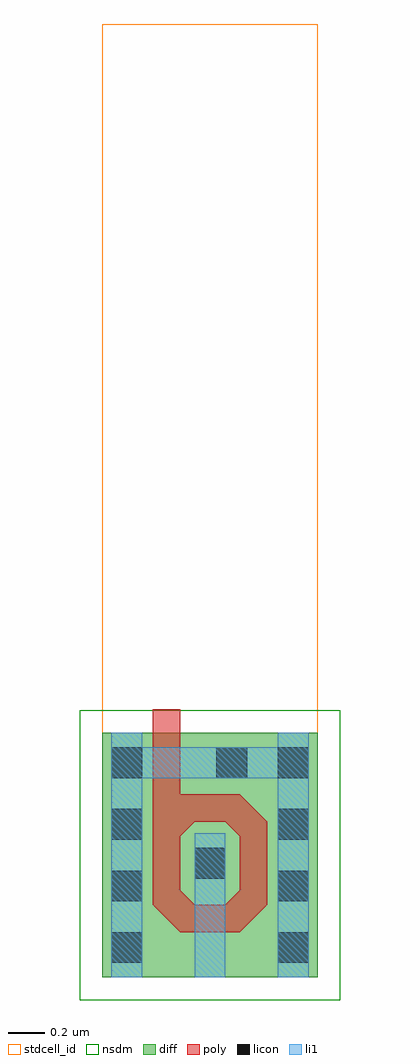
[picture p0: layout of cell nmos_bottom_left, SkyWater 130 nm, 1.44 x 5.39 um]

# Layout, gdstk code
import gdstk
lib = gdstk.Library(unit=1e-6, precision=1e-09)
def R(c, l, rs):  # rectangles x0, y0, x1, y1
    for r in rs: c.add(gdstk.rectangle(r[:2], r[2:], *l))
def A(c, l, x, y, w, h, nx, ny, dx, dy):  # array of equal rectangles
    R(c, l, [(x+i*dx, y+j*dy, x+i*dx+w, y+j*dy+h) for i in range(nx) for j in range(ny)])
def P(c, l, *ps):  # polygons
    for p in ps: c.add(gdstk.Polygon(p, *l))
diff = (65, 20)
poly = (66, 20)
licon = (66, 44)
li1 = (67, 20)
stdcell_id = (81, 4)
nsdm = (93, 44)

nmos_bottom_left = lib.new_cell('nmos_bottom_left')
R(nmos_bottom_left, diff, [(0,0,1.19,1.35)])
R(nmos_bottom_left, poly, [(0.43,0.25,0.76,0.4), (0.28,0.4,0.43,0.86), (0.76,0.4,0.91,0.86), (0.28,0.86,0.76,1.01), (0.28,1.01,0.43,1.48)])
P(nmos_bottom_left, poly, [(0.76,1.01),(0.76,0.86),(0.91,0.86)],
  [(0.43,0.78),(0.43,0.86),(0.51,0.86)],
  [(0.68,0.86),(0.76,0.86),(0.76,0.78)],
  [(0.43,0.48),(0.43,0.4),(0.51,0.4)],
  [(0.68,0.4),(0.76,0.4),(0.76,0.48)],
  [(0.28,0.4),(0.43,0.4),(0.43,0.25)],
  [(0.76,0.25),(0.76,0.4),(0.91,0.4)])
A(nmos_bottom_left, licon, 0.05, 0.08, 0.17, 0.17, 1, 4, 0, 0.34)
A(nmos_bottom_left, licon, 0.97, 0.08, 0.17, 0.17, 1, 4, 0, 0.34)
R(nmos_bottom_left, licon, [(0.51,0.545,0.68,0.715), (0.63,1.1,0.8,1.27)])
R(nmos_bottom_left, li1, [(0.05,0,0.22,1.1), (0.51,0,0.68,0.795), (0.97,0,1.14,1.1), (0.05,1.1,1.14,1.27), (0.05,1.27,0.22,1.35), (0.97,1.27,1.14,1.35)])
R(nmos_bottom_left, stdcell_id, [(0,0,1.19,5.265)])
R(nmos_bottom_left, nsdm, [(-0.125,-0.125,1.315,1.475)])

lib.write_gds('nmos_bottom_left.gds')
